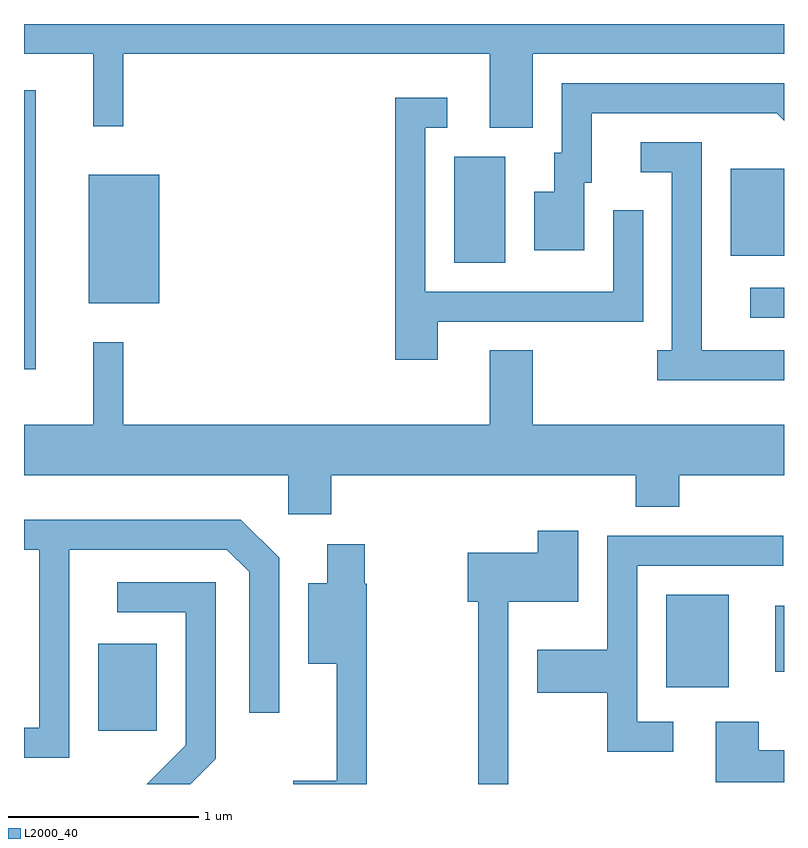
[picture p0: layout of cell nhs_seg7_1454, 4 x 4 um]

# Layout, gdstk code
import gdstk
lib = gdstk.Library(unit=1e-6, precision=1e-09)
def R(c, l, rs):  # rectangles x0, y0, x1, y1
    for r in rs: c.add(gdstk.rectangle(r[:2], r[2:], *l))
def P(c, l, *ps):  # polygons
    for p in ps: c.add(gdstk.Polygon(p, *l))
L2000_40 = (2000, 40)

nhs_seg7_1454 = lib.new_cell('nhs_seg7_1454')
R(nhs_seg7_1454, L2000_40, [(230.001,1708.531,230.309,1708.989), (232.991,1708.761,233.319,1709.249), (233.566,1708.843,233.611,1709.189), (229.611,1710.436,229.674,1711.903), (233.433,1710.706,233.611,1710.864), (229.951,1710.781,230.324,1711.459), (231.876,1710.996,232.144,1711.554), (233.331,1711.031,233.611,1711.489)])
P(nhs_seg7_1454, L2000_40, [(232.289,1712.096),(233.611,1712.096),(233.611,1712.252),(229.611,1712.252),(229.611,1712.096),(229.976,1712.096),(229.976,1711.713),(230.134,1711.713),(230.134,1712.096),(232.061,1712.096),(232.061,1711.706),(232.289,1711.706)],
  [(232.559,1711.416),(232.599,1711.416),(232.599,1711.781),(233.574,1711.781),(233.611,1711.744),(233.611,1711.939),(232.441,1711.939),(232.441,1711.574),(232.401,1711.574),(232.401,1711.369),(232.296,1711.369),(232.296,1711.061),(232.559,1711.061)],
  [(231.789,1710.686),(232.869,1710.686),(232.869,1711.273),(232.711,1711.273),(232.711,1710.844),(231.724,1710.844),(231.724,1711.706),(231.838,1711.706),(231.838,1711.864),(231.566,1711.864),(231.566,1710.486),(231.789,1710.486)],
  [(233.611,1710.534),(233.179,1710.534),(233.179,1711.629),(232.858,1711.629),(232.858,1711.471),(233.021,1711.471),(233.021,1710.534),(232.943,1710.534),(232.943,1710.376),(233.611,1710.376)],
  [(231.229,1709.876),(232.831,1709.876),(232.831,1709.711),(233.059,1709.711),(233.059,1709.876),(233.611,1709.876),(233.611,1710.144),(232.289,1710.144),(232.289,1710.534),(232.061,1710.534),(232.061,1710.144),(230.134,1710.144),(230.134,1710.578),(229.976,1710.578),(229.976,1710.144),(229.611,1710.144),(229.611,1709.876),(231.001,1709.876),(231.001,1709.671),(231.229,1709.671)],
  [(229.849,1709.486),(230.679,1709.486),(230.796,1709.369),(230.796,1708.628),(230.954,1708.628),(230.954,1709.442),(230.752,1709.644),(229.613,1709.644),(229.613,1709.486),(229.691,1709.486),(229.691,1708.549),(229.611,1708.549),(229.611,1708.391),(229.849,1708.391)],
  [(232.159,1709.211),(232.529,1709.211),(232.529,1709.584),(232.316,1709.584),(232.316,1709.469),(231.946,1709.469),(231.946,1709.211),(232.001,1709.211),(232.001,1708.252),(232.159,1708.252)],
  [(233.028,1708.579),(232.839,1708.579),(232.839,1709.401),(233.608,1709.401),(233.608,1709.559),(232.681,1709.559),(232.681,1708.959),(232.311,1708.959),(232.311,1708.731),(232.681,1708.731),(232.681,1708.421),(233.028,1708.421)],
  [(231.414,1709.305),(231.404,1709.305),(231.404,1709.514),(231.206,1709.514),(231.206,1709.309),(231.106,1709.309),(231.106,1708.886),(231.256,1708.886),(231.256,1708.269),(231.028,1708.269),(231.028,1708.252),(231.414,1708.252)],
  [(230.619,1708.384),(230.619,1709.314),(230.103,1709.314),(230.103,1709.156),(230.461,1709.156),(230.461,1708.457),(230.257,1708.252),(230.487,1708.252)],
  [(233.611,1708.429),(233.479,1708.429),(233.479,1708.579),(233.251,1708.579),(233.251,1708.261),(233.611,1708.261)])

lib.write_gds('nhs_seg7_1454.gds')
